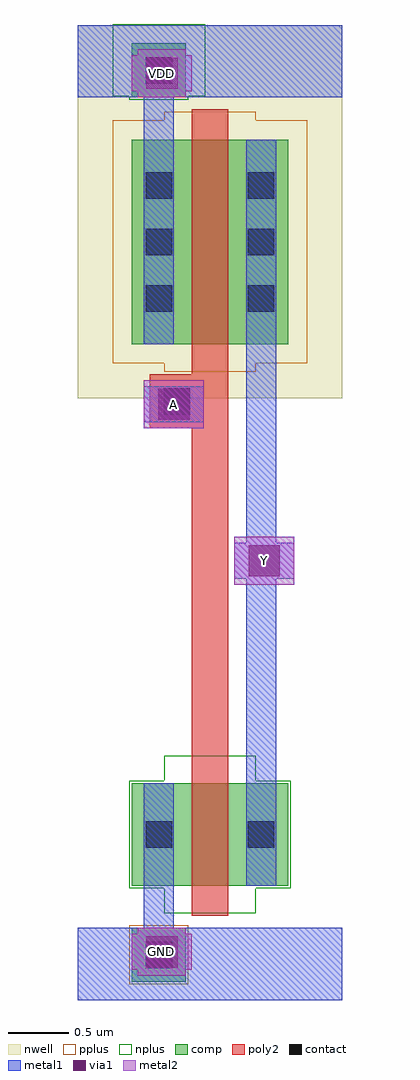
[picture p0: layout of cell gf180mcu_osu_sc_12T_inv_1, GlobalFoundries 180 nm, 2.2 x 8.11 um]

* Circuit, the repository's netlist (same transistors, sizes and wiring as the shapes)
.inc "../../char/techfiles/design.hspice"
.lib "../../char/techfiles/sm141064.hspice" typical

.GLOBAL VDD
.GLOBAL GND

.option scale=0.05u

.subckt gf180mcu_osu_sc_12T_inv_1 A Y
X0 Y A VDD VDD pmos_3p3 w=34 l=6
X1 Y A GND GND nmos_3p3 w=17 l=6
.ends

** hspice subcircuit dictionary

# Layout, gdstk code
import gdstk
lib = gdstk.Library(unit=1e-6, precision=1e-09)
def R(c, l, rs):  # rectangles x0, y0, x1, y1
    for r in rs: c.add(gdstk.rectangle(r[:2], r[2:], *l))
def A(c, l, x, y, w, h, nx, ny, dx, dy):  # array of equal rectangles
    R(c, l, [(x+i*dx, y+j*dy, x+i*dx+w, y+j*dy+h) for i in range(nx) for j in range(ny)])
nwell = (21, 0)
comp = (22, 0)
poly2 = (30, 0)
pplus = (31, 0)
nplus = (32, 0)
contact = (33, 0)
metal1 = (34, 0)
via1 = (35, 0)
metal2 = (36, 0)

gf180mcu_osu_sc_12t_inv_ = lib.new_cell('gf180mcu_osu_sc_12T_inv_1')
R(gf180mcu_osu_sc_12t_inv_, nwell, [(0,4.85,2.2,7.95)])
R(gf180mcu_osu_sc_12t_inv_, comp, [(0.45,0,0.9,0.45), (0.45,0.8,1.75,1.65), (0.45,5.3,1.75,7), (0.45,7.35,0.9,7.8)])
R(gf180mcu_osu_sc_12t_inv_, poly2, [(0.95,0.55,1.25,4.6), (0.6,4.6,1.25,5.05), (0.95,5.05,1.25,7.25)])
R(gf180mcu_osu_sc_12t_inv_, pplus, [(0.43,-0.02,0.92,0.47), (0.72,5.07,1.48,5.14), (0.29,5.14,1.91,7.16), (0.72,7.16,1.48,7.23)])
R(gf180mcu_osu_sc_12t_inv_, nplus, [(0.72,0.57,1.48,0.78), (0.43,0.78,1.77,1.67), (0.72,1.67,1.48,1.88), (0.43,7.33,0.92,7.36), (0.29,7.36,1.06,7.96)])
A(gf180mcu_osu_sc_12t_inv_, contact, 0.565, 5.57, 0.22, 0.22, 1, 3, 0, 0.47)
A(gf180mcu_osu_sc_12t_inv_, contact, 1.415, 5.57, 0.22, 0.22, 1, 3, 0, 0.47)
R(gf180mcu_osu_sc_12t_inv_, contact, [(0.565,0.115,0.785,0.335), (0.565,1.115,0.785,1.335), (1.415,1.115,1.635,1.335), (0.715,4.715,0.935,4.935), (0.565,7.465,0.785,7.685)])
R(gf180mcu_osu_sc_12t_inv_, metal1, [(0,-0.15,2.2,0.45), (0.55,0.45,0.8,1.65), (1.4,0.8,1.65,3.35), (1.3,3.35,1.8,3.65), (1.4,3.65,1.65,7), (0.55,4.65,1.05,4.95), (0.55,5.3,0.8,7.35), (0,7.35,2.2,7.95)])
R(gf180mcu_osu_sc_12t_inv_, via1, [(0.57,0.12,0.83,0.38), (1.42,3.37,1.68,3.63), (0.67,4.67,0.93,4.93), (0.57,7.42,0.83,7.68)])
R(gf180mcu_osu_sc_12t_inv_, metal2, [(0.5,0.05,0.9,0.1), (0.45,0.1,0.95,0.4), (0.5,0.4,0.9,0.45), (1.3,3.3,1.8,3.7), (0.55,4.6,1.05,5), (0.5,7.35,0.9,7.4), (0.45,7.4,0.95,7.7), (0.5,7.7,0.9,7.75)])
gf180mcu_osu_sc_12t_inv_.add(gdstk.Label('GND', (0.7,0.25), layer=36, texttype=0))
gf180mcu_osu_sc_12t_inv_.add(gdstk.Label('VDD', (0.7,7.55), layer=36, texttype=0))
gf180mcu_osu_sc_12t_inv_.add(gdstk.Label('A', (0.8,4.8), layer=36, texttype=10))
gf180mcu_osu_sc_12t_inv_.add(gdstk.Label('Y', (1.55,3.5), layer=36, texttype=10))

lib.write_gds('gf180mcu_osu_sc_12T_inv_1.gds')
